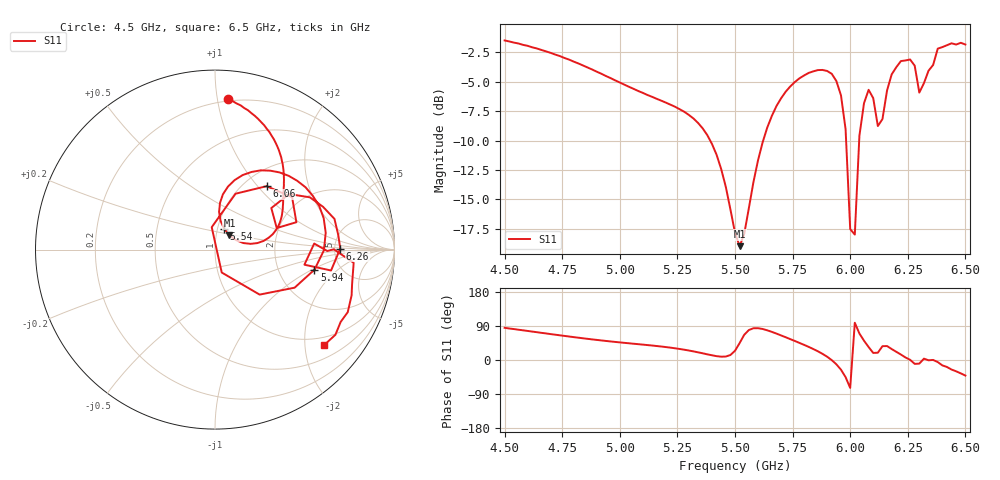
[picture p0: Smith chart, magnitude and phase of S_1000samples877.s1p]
! TOUCHSTONE file generated by CST MICROWAVE STUDIO
! Date and time: Sat Oct 29 16:23:35 2022
! Project name: L.cst
! Parameters = {Di=1.27; Epsilon_r=1.56; InnerDiameter=1.27; Length=2; Lf=10; Lg=60; OuterConductorThickness=0.2921; OuterDiameter=3.6; Wf=3; Wp=41.2; de=1.5; df=6.8; g=0.8; gx=1.76939; gy=3.94426; h=2.34; hf=1.524; px=13.5155; py=14.5587; w=9.7; wx=11.7461; wy=10.6144}
! Header version: 2018
! Port assignment regex: !\s*Touchstone port\s*([0-9]+)\s*=\s*(CST MWS port|CST DS port)\s*([0-9]+|Zmin|Zmax)\s*\(\"(.*)\"\)(\s*mode\s*([0-9]+))?.*
! Touchstone port assignment:
! Touchstone port 1 = CST MWS port 1 ("")
# GHz S DB R 50
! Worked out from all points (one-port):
!   101 points, 4.5 GHz to 6.5 GHz, reference 50 ohm
!   lowest |S11| = -19.0 dB at 5.52 GHz (marker M1), VSWR 1.25, Z = 57.9 + j9.29 ohm
!   |S11| at or under -10 dB: 5.392 GHz to 5.622 GHz (230.1 MHz wide, 4.18 % of centre); 5.982 GHz to 6.039 GHz (56.74 MHz wide, 0.944 % of centre)
!   S11 on the Smith chart (normalised r, x): 4.5 GHz: 0.19, +1.07; 5.54 GHz: 1.08, +0.25; 5.94 GHz: 3.22, -1.06; 6.06 GHz: 1.25, +1.12; 6.26 GHz: 5.62, +0.13; 6.5 GHz: 0.80, -2.44
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4.5  -1.51 85.0
4.76  -2.99 63.5
5  -5.07 46.5
5.26  -7.34 29.1
5.4  -10.29 12.4
5.5  -17.82 24.3
5.52  -18.96 44.6
5.54  -17.93 66.5
5.64  -8.90 78.3
5.76  -5.03 50.2
5.88  -4.01 16.1
5.94  -4.95 -11.4
5.98  -9.04 -45.2
6  -17.51 -73.6
6.02  -17.98 98.3
6.04  -9.58 69.8
6.06  -6.83 50.9
6.1  -6.40 18.6
6.12  -8.77 19.2
6.16  -5.75 36.8
6.22  -3.26 14.4
6.26  -3.12 0.5
6.3  -5.93 -9.6
6.32  -5.13 3.5
6.36  -3.59 0.2
6.38  -2.20 -5.4
6.42  -1.91 -18.5
6.5  -1.85 -41.1
